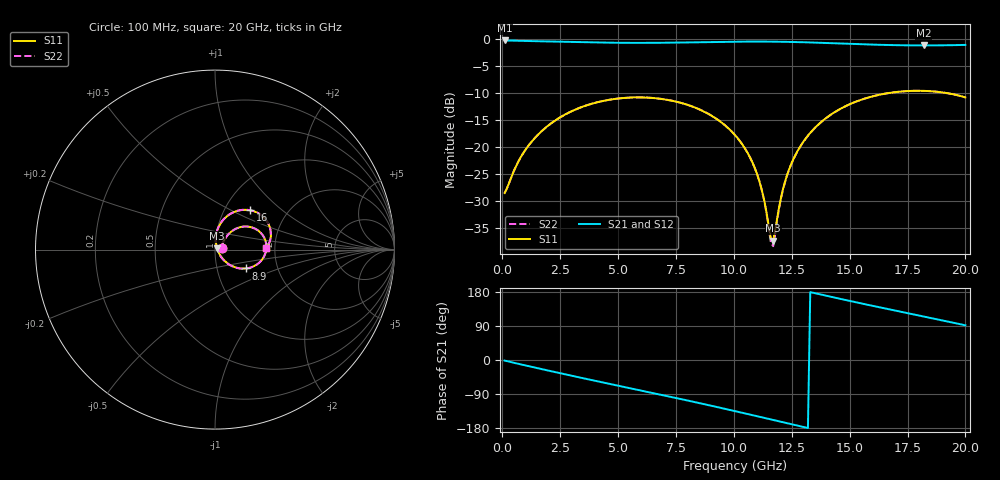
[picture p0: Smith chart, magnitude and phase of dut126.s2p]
! Touchstone file exported from HFSS 2026.1.0
!  File:  C:/ffzhzh/LocalFiles/Ansys_Project_Files/temp_train_TSV_RDL_126_1783048479_17544.aedt
!  Generated:  11:23:41 AM Jul  3, 2026
!  Design:  TSV_RDL
!  Project:  temp_train_TSV_RDL_126_1783048479_17544
! Variables:
!  h_bsmrdl = 2.27um
!  h_ox = 20um
!  h_rdl = 5um
!  h_sub = 56.27um
!  h_tmrdl = 2.5um
!  h_tsv = 56.27um
!  h_via = 3um
!  l_bsmrdl = 257.04um
!  l_sub = 4013.59um
!  l_tmrdl = 690.3um
!  m_sub = 200um
!  pitch = 28.5um
!  r_tsv = 12.92um
!  s_tmrdl = 10um
!  w_bsmrdl = 12.52um
!  w_sub = 500um
!  w_tmrdl = 14.57um
!  x_tsv_center1 = 697.585um
!  x_tsv_center2 = 967.145um
!  x_tsv_center3 = 1672.015um
!  x_tsv_center4 = 1941.575um
!  x_tsv_center5 = 2646.445um
!  x_tsv_center6 = 2916.005um
# GHz S MA R 50.000000
! Terminal data exported
! Port[1] = TM_RDL1_1_T1
! Port[2] = TM_RDL5_1_T1
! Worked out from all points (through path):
!   200 points, 100 MHz to 20 GHz, reference 50 ohm
!   highest |S21| = -0.32 dB at 100 MHz (marker M1); lowest = -1.2 dB at 18.2 GHz (marker M2)
!   group delay of S21, straight-line fit = 37.4 ps
!   lowest |S11| = -37.3 dB at 11.7 GHz (marker M3), VSWR 1.03, Z = 51.2 + j0.71 ohm
!   |S11| at or under -10 dB: start of sweep to 16.75 GHz; 19.12 GHz to end of sweep
!   |S22| runs from -38.4 to -9.6 dB; largest |S21 - S12| = 1.6e-14
!   S11 on the Smith chart (normalised r, x): 100 MHz: 1.08, +0.02; 8.9 GHz: 1.38, -0.30; 16 GHz: 1.31, +0.63; 20 GHz: 1.80, +0.03
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0.1  0.03745 13.2  0.9637 -1.5  0.9637 -1.5  0.03745 13.2
! Gamma 0 0 0 0
! Port Impedance 50 0 50 0
0.7  0.07364 45.8  0.9569 -10.2  0.9569 -10.2  0.07364 45.8
1.4  0.1205 48.6  0.9492 -19.9  0.9492 -19.9  0.1205 48.6
2.3  0.1763 43.4  0.9402 -32.2  0.9402 -32.2  0.1763 43.4
3.5  0.2365 31.9  0.928 -48.2  0.928 -48.2  0.2366 31.8
5.2  0.2829 12.9  0.9164 -70.4  0.9164 -70.4  0.283 12.8
6.8  0.2789 -6.0  0.917 -91.1  0.917 -91.1  0.2791 -6.1
8.9  0.2019 -31.3  0.9312 -119.0  0.9312 -119.0  0.2021 -31.6
10.1  0.1249 -44.8  0.9392 -135.6  0.9392 -135.6  0.125 -45.4
11  0.05628 -49.6  0.9414 -148.3  0.9414 -148.3  0.05624 -51.0
11.3  0.03292 -43.6  0.941 -152.6  0.941 -152.6  0.03263 -46.1
11.6  0.0142 -2.9  0.94 -156.8  0.94 -156.8  0.01296 -6.4
11.7  0.01358 30.7  0.9396 -158.3  0.9396 -158.3  0.01208 31.0
12  0.03125 78.1  0.9378 -162.5  0.9378 -162.5  0.03039 80.5
12.3  0.05503 85.1  0.9354 -166.8  0.9354 -166.8  0.05442 86.6
12.8  0.09549 84.3  0.9303 -173.9  0.9303 -173.9  0.09502 85.2
13.4  0.1424 78.8  0.9224 177.7  0.9224 177.7  0.142 79.4
14.5  0.2187 66.2  0.905 162.6  0.905 162.6  0.2184 66.6
16  0.2937 48.3  0.882 142.8  0.882 142.8  0.2934 48.5
16.7  0.3151 40.0  0.8741 133.8  0.8741 133.8  0.3149 40.2
18.2  0.3297 22.4  0.8669 114.8  0.8669 114.8  0.3296 22.6
20  0.287 1.5  0.8766 91.5  0.8766 91.5  0.2869 1.6
